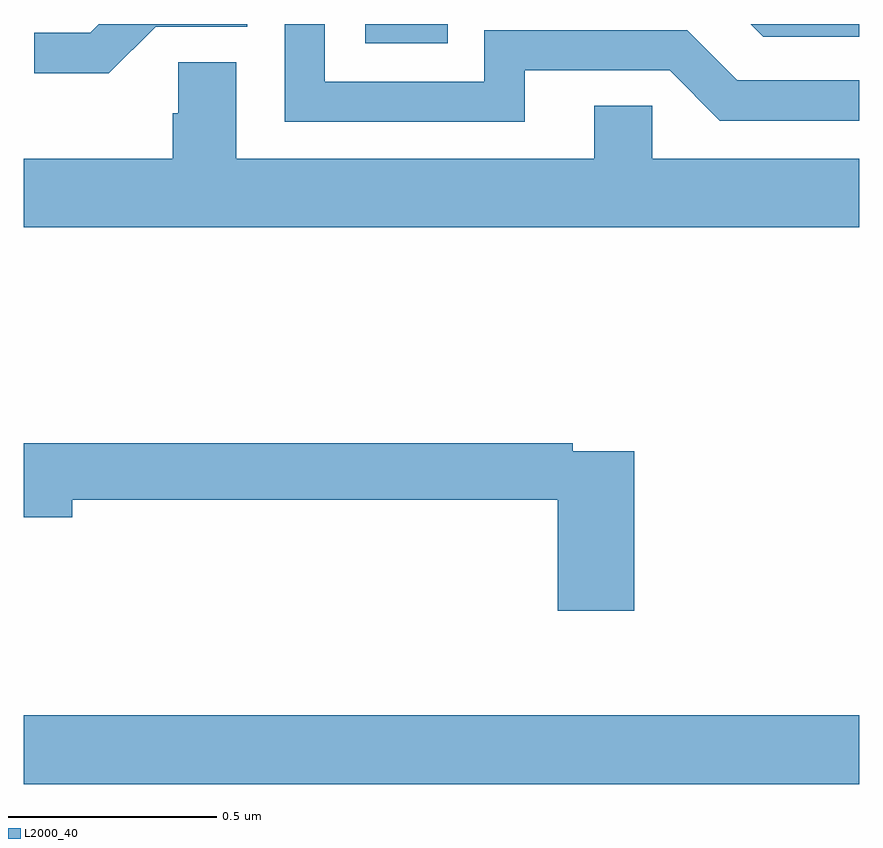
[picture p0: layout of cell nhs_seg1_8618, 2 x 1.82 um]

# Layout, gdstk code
import gdstk
lib = gdstk.Library(unit=1e-6, precision=1e-09)
def R(c, l, rs):  # rectangles x0, y0, x1, y1
    for r in rs: c.add(gdstk.rectangle(r[:2], r[2:], *l))
def P(c, l, *ps):  # polygons
    for p in ps: c.add(gdstk.Polygon(p, *l))
L2000_40 = (2000, 40)

nhs_seg1_8618 = lib.new_cell('nhs_seg1_8618')
R(nhs_seg1_8618, L2000_40, [(218,570.38,220,570.544), (218.817,572.153,219.015,572.199)])
P(nhs_seg1_8618, L2000_40, [(220,572.199),(219.74,572.199),(219.77,572.169),(220,572.169)],
  [(218.316,572.193),(218.535,572.193),(218.535,572.199),(218.18,572.199),(218.159,572.178),(218.025,572.178),(218.025,572.081),(218.203,572.081)],
  [(219.199,572.088),(219.546,572.088),(219.666,571.968),(220,571.968),(220,572.064),(219.708,572.064),(219.588,572.184),(219.102,572.184),(219.102,572.061),(218.721,572.061),(218.721,572.199),(218.625,572.199),(218.625,571.965),(219.199,571.965)],
  [(220,571.876),(219.504,571.876),(219.504,572.003),(219.365,572.003),(219.365,571.876),(218.509,571.876),(218.509,572.108),(218.37,572.108),(218.37,571.985),(218.357,571.985),(218.357,571.876),(218,571.876),(218,571.712),(220,571.712)],
  [(219.461,571.176),(219.314,571.176),(219.314,571.196),(218,571.196),(218,571.018),(218.116,571.018),(218.116,571.06),(219.278,571.06),(219.278,570.795),(219.461,570.795)])

lib.write_gds('nhs_seg1_8618.gds')
